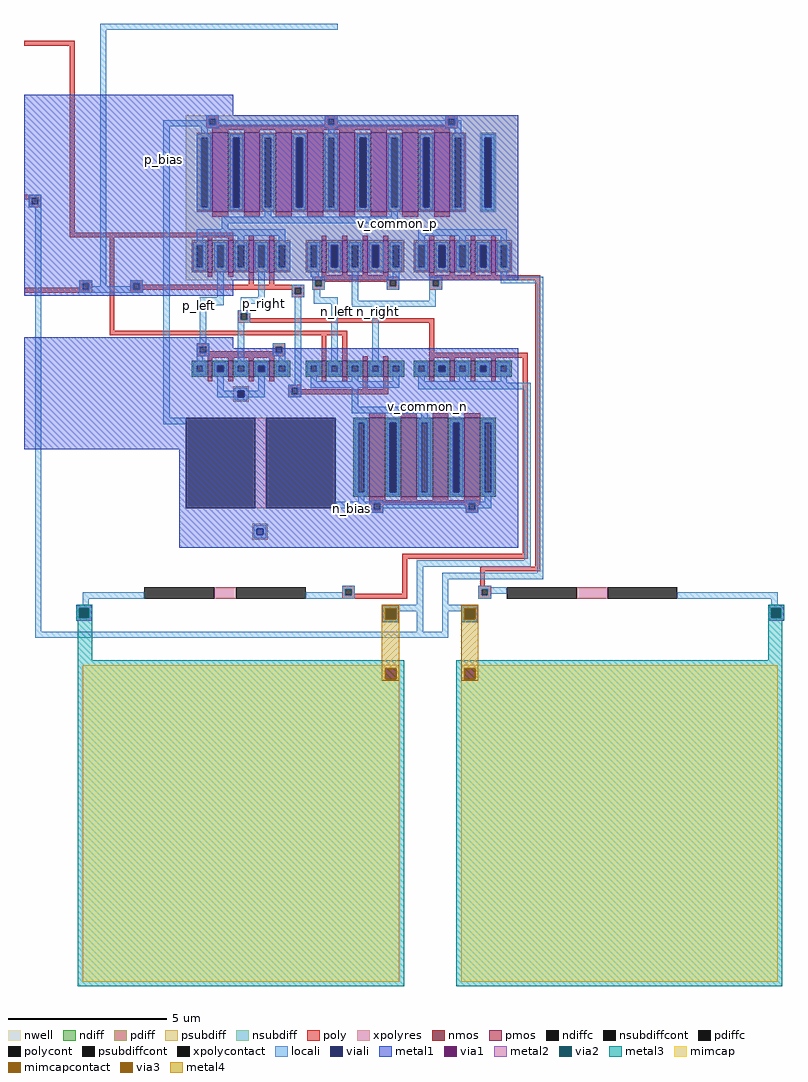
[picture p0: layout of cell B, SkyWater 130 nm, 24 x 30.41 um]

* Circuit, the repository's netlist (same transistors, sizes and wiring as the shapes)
* NGSPICE file created from B.ext - technology: sky130A

**.subckt B
X0 a_4510_n8350# p_right a_5700_n9470# a_5700_n9470# sky130_fd_pr__nfet_01v8 ad=0.25 pd=2 as=0.125 ps=1 w=0.5 l=0.15
X1 w_5530_n8860# p_bias v_common_p w_5530_n8860# sky130_fd_pr__pfet_01v8 ad=0.625 pd=3 as=0.625 ps=3 w=2.5 l=0.5
X2 p_left a_4510_n7380# v_common_p w_5530_n8860# sky130_fd_pr__pfet_01v8 ad=0.25 pd=1.5 as=0.5 ps=3 w=1 l=0.15
X3 a_4510_n8350# n_right w_5530_n8860# w_5530_n8860# sky130_fd_pr__pfet_01v8 ad=0.25 pd=1.5 as=0.25 ps=1.5 w=1 l=0.15
X4 n_right VOUT v_common_n a_5700_n9470# sky130_fd_pr__nfet_01v8 ad=0.125 pd=1 as=0.125 ps=1 w=0.5 l=0.15
X5 v_common_p p_bias w_5530_n8860# w_5530_n8860# sky130_fd_pr__pfet_01v8 ad=0.625 pd=3 as=0.625 ps=3 w=2.5 l=0.5
X6 a_5700_n9470# p_right a_4510_n8350# a_5700_n9470# sky130_fd_pr__nfet_01v8 ad=0.125 pd=1 as=0.25 ps=2 w=0.5 l=0.15
X7 p_right p_left a_5700_n9470# a_5700_n9470# sky130_fd_pr__nfet_01v8 ad=0.125 pd=1 as=0.125 ps=1 w=0.5 l=0.15
X8 p_bias n_bias a_5700_n9470# sky130_fd_pr__res_xhigh_po_2p85 l=0.51
X9 v_common_p p_bias w_5530_n8860# w_5530_n8860# sky130_fd_pr__pfet_01v8 ad=0.625 pd=3 as=0.625 ps=3 w=2.5 l=0.5
X10 w_5530_n8860# n_right a_4510_n8350# w_5530_n8860# sky130_fd_pr__pfet_01v8 ad=0.25 pd=1.5 as=0.25 ps=1.5 w=1 l=0.15
X11 v_common_n VOUT n_right a_5700_n9470# sky130_fd_pr__nfet_01v8 ad=0.25 pd=2 as=0.125 ps=1 w=0.5 l=0.15
X12 w_5530_n8860# p_bias p_bias w_5530_n8860# sky130_fd_pr__pfet_01v8 ad=0.625 pd=3 as=1.25 ps=6 w=2.5 l=0.5
X13 a_5700_n9470# p_left p_right a_5700_n9470# sky130_fd_pr__nfet_01v8 ad=0.125 pd=1 as=0.125 ps=1 w=0.5 l=0.15
X14 a_4510_n8350# a_8196_n10872# sky130_fd_pr__cap_mim_m3_1 l=10 w=10
X15 n_right n_left w_5530_n8860# w_5530_n8860# sky130_fd_pr__pfet_01v8 ad=0.25 pd=1.5 as=0.25 ps=1.5 w=1 l=0.15
X16 p_left p_left a_5700_n9470# a_5700_n9470# sky130_fd_pr__nfet_01v8 ad=0.25 pd=2 as=0.125 ps=1 w=0.5 l=0.15
X17 n_left a_4510_n7380# v_common_n a_5700_n9470# sky130_fd_pr__nfet_01v8 ad=0.125 pd=1 as=0.25 ps=2 w=0.5 l=0.15
X18 w_5530_n8860# p_bias p_bias w_5530_n8860# sky130_fd_pr__pfet_01v8 ad=0.625 pd=3 as=0.625 ps=3 w=2.5 l=0.5
X19 a_4510_n8350# n_right w_5530_n8860# w_5530_n8860# sky130_fd_pr__pfet_01v8 ad=0.5 pd=3 as=0.25 ps=1.5 w=1 l=0.15
X20 v_common_n n_bias a_5700_n9470# a_5700_n9470# sky130_fd_pr__nfet_01v8 ad=0.625 pd=3 as=0.625 ps=3 w=2.5 l=0.5
X21 w_5530_n8860# n_left n_right w_5530_n8860# sky130_fd_pr__pfet_01v8 ad=0.25 pd=1.5 as=0.25 ps=1.5 w=1 l=0.15
X22 a_5700_n9470# n_bias n_bias a_5700_n9470# sky130_fd_pr__nfet_01v8 ad=0.625 pd=3 as=1.25 ps=6 w=2.5 l=0.5
X23 v_common_p a_4510_n7380# p_left w_5530_n8860# sky130_fd_pr__pfet_01v8 ad=0.25 pd=1.5 as=0.25 ps=1.5 w=1 l=0.15
X24 w_5530_n8860# n_right a_4510_n8350# w_5530_n8860# sky130_fd_pr__pfet_01v8 ad=0.25 pd=1.5 as=0.5 ps=3 w=1 l=0.15
X25 a_5700_n9470# p_left p_left a_5700_n9470# sky130_fd_pr__nfet_01v8 ad=0.125 pd=1 as=0.25 ps=2 w=0.5 l=0.15
X26 a_4510_n8350# a_5270_n10872# sky130_fd_pr__cap_mim_m3_1 l=10 w=10
X27 p_bias p_bias w_5530_n8860# w_5530_n8860# sky130_fd_pr__pfet_01v8 ad=0.625 pd=3 as=0.625 ps=3 w=2.5 l=0.5
X28 a_4510_n8350# p_right a_5700_n9470# a_5700_n9470# sky130_fd_pr__nfet_01v8 ad=0.125 pd=1 as=0.125 ps=1 w=0.5 l=0.15
X29 n_right a_8196_n10872# a_5700_n9470# sky130_fd_pr__res_xhigh_po_0p35 l=1.14
X30 n_left n_left w_5530_n8860# w_5530_n8860# sky130_fd_pr__pfet_01v8 ad=0.5 pd=3 as=0.25 ps=1.5 w=1 l=0.15
X31 p_right VOUT v_common_p w_5530_n8860# sky130_fd_pr__pfet_01v8 ad=0.25 pd=1.5 as=0.25 ps=1.5 w=1 l=0.15
X32 p_bias p_bias w_5530_n8860# w_5530_n8860# sky130_fd_pr__pfet_01v8 ad=1.25 pd=6 as=0.625 ps=3 w=2.5 l=0.5
X33 a_5270_n10872# p_right a_5700_n9470# sky130_fd_pr__res_xhigh_po_0p35 l=0.86
X34 w_5530_n8860# p_bias v_common_p w_5530_n8860# sky130_fd_pr__pfet_01v8 ad=0.625 pd=3 as=0.625 ps=3 w=2.5 l=0.5
X35 v_common_p VOUT p_right w_5530_n8860# sky130_fd_pr__pfet_01v8 ad=0.5 pd=3 as=0.25 ps=1.5 w=1 l=0.15
X36 w_5530_n8860# n_left n_left w_5530_n8860# sky130_fd_pr__pfet_01v8 ad=0.25 pd=1.5 as=0.5 ps=3 w=1 l=0.15
X37 a_5700_n9470# p_right a_4510_n8350# a_5700_n9470# sky130_fd_pr__nfet_01v8 ad=0.125 pd=1 as=0.125 ps=1 w=0.5 l=0.15
X38 n_bias n_bias a_5700_n9470# a_5700_n9470# sky130_fd_pr__nfet_01v8 ad=1.25 pd=6 as=0.625 ps=3 w=2.5 l=0.5
X39 a_5700_n9470# n_bias v_common_n a_5700_n9470# sky130_fd_pr__nfet_01v8 ad=0.625 pd=3 as=0.625 ps=3 w=2.5 l=0.5
X40 v_common_n a_4510_n7380# n_left a_5700_n9470# sky130_fd_pr__nfet_01v8 ad=0.125 pd=1 as=0.125 ps=1 w=0.5 l=0.15
**.ends

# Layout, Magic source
magic
tech sky130A
<< nwell >>
rect 2765 -4430 3815 -3910
<< nmos >>
rect 2835 -4735 2850 -4685
rect 2900 -4735 2915 -4685
rect 2965 -4735 2980 -4685
rect 3030 -4735 3045 -4685
rect 3195 -4735 3210 -4685
rect 3260 -4735 3275 -4685
rect 3325 -4735 3340 -4685
rect 3390 -4735 3405 -4685
rect 3535 -4735 3550 -4685
rect 3600 -4735 3615 -4685
rect 3665 -4735 3680 -4685
rect 3730 -4735 3745 -4685
rect 3345 -5115 3395 -4865
rect 3445 -5115 3495 -4865
rect 3545 -5115 3595 -4865
rect 3645 -5115 3695 -4865
<< pmos >>
rect 2850 -4215 2900 -3965
rect 2950 -4215 3000 -3965
rect 3050 -4215 3100 -3965
rect 3150 -4215 3200 -3965
rect 3250 -4215 3300 -3965
rect 3350 -4215 3400 -3965
rect 3450 -4215 3500 -3965
rect 3550 -4215 3600 -3965
rect 2835 -4405 2850 -4305
rect 2900 -4405 2915 -4305
rect 2965 -4405 2980 -4305
rect 3030 -4405 3045 -4305
rect 3195 -4405 3210 -4305
rect 3260 -4405 3275 -4305
rect 3325 -4405 3340 -4305
rect 3390 -4405 3405 -4305
rect 3535 -4405 3550 -4305
rect 3600 -4405 3615 -4305
rect 3665 -4405 3680 -4305
rect 3730 -4405 3745 -4305
<< ndiff >>
rect 2785 -4700 2835 -4685
rect 2785 -4720 2800 -4700
rect 2820 -4720 2835 -4700
rect 2785 -4735 2835 -4720
rect 2850 -4700 2900 -4685
rect 2850 -4720 2865 -4700
rect 2885 -4720 2900 -4700
rect 2850 -4735 2900 -4720
rect 2915 -4700 2965 -4685
rect 2915 -4720 2930 -4700
rect 2950 -4720 2965 -4700
rect 2915 -4735 2965 -4720
rect 2980 -4700 3030 -4685
rect 2980 -4720 2995 -4700
rect 3015 -4720 3030 -4700
rect 2980 -4735 3030 -4720
rect 3045 -4700 3095 -4685
rect 3045 -4720 3060 -4700
rect 3080 -4720 3095 -4700
rect 3045 -4735 3095 -4720
rect 3145 -4700 3195 -4685
rect 3145 -4720 3160 -4700
rect 3180 -4720 3195 -4700
rect 3145 -4735 3195 -4720
rect 3210 -4700 3260 -4685
rect 3210 -4720 3225 -4700
rect 3245 -4720 3260 -4700
rect 3210 -4735 3260 -4720
rect 3275 -4700 3325 -4685
rect 3275 -4720 3290 -4700
rect 3310 -4720 3325 -4700
rect 3275 -4735 3325 -4720
rect 3340 -4700 3390 -4685
rect 3340 -4720 3355 -4700
rect 3375 -4720 3390 -4700
rect 3340 -4735 3390 -4720
rect 3405 -4700 3455 -4685
rect 3405 -4720 3420 -4700
rect 3440 -4720 3455 -4700
rect 3405 -4735 3455 -4720
rect 3485 -4700 3535 -4685
rect 3485 -4720 3500 -4700
rect 3520 -4720 3535 -4700
rect 3485 -4735 3535 -4720
rect 3550 -4700 3600 -4685
rect 3550 -4720 3565 -4700
rect 3585 -4720 3600 -4700
rect 3550 -4735 3600 -4720
rect 3615 -4700 3665 -4685
rect 3615 -4720 3630 -4700
rect 3650 -4720 3665 -4700
rect 3615 -4735 3665 -4720
rect 3680 -4700 3730 -4685
rect 3680 -4720 3695 -4700
rect 3715 -4720 3730 -4700
rect 3680 -4735 3730 -4720
rect 3745 -4700 3795 -4685
rect 3745 -4720 3760 -4700
rect 3780 -4720 3795 -4700
rect 3745 -4735 3795 -4720
rect 3295 -4880 3345 -4865
rect 3295 -5100 3310 -4880
rect 3330 -5100 3345 -4880
rect 3295 -5115 3345 -5100
rect 3395 -4880 3445 -4865
rect 3395 -5100 3410 -4880
rect 3430 -5100 3445 -4880
rect 3395 -5115 3445 -5100
rect 3495 -4880 3545 -4865
rect 3495 -5100 3510 -4880
rect 3530 -5100 3545 -4880
rect 3495 -5115 3545 -5100
rect 3595 -4880 3645 -4865
rect 3595 -5100 3610 -4880
rect 3630 -5100 3645 -4880
rect 3595 -5115 3645 -5100
rect 3695 -4880 3745 -4865
rect 3695 -5100 3710 -4880
rect 3730 -5100 3745 -4880
rect 3695 -5115 3745 -5100
<< pdiff >>
rect 2800 -3980 2850 -3965
rect 2800 -4200 2815 -3980
rect 2835 -4200 2850 -3980
rect 2800 -4215 2850 -4200
rect 2900 -3980 2950 -3965
rect 2900 -4200 2915 -3980
rect 2935 -4200 2950 -3980
rect 2900 -4215 2950 -4200
rect 3000 -3980 3050 -3965
rect 3000 -4200 3015 -3980
rect 3035 -4200 3050 -3980
rect 3000 -4215 3050 -4200
rect 3100 -3980 3150 -3965
rect 3100 -4200 3115 -3980
rect 3135 -4200 3150 -3980
rect 3100 -4215 3150 -4200
rect 3200 -3980 3250 -3965
rect 3200 -4200 3215 -3980
rect 3235 -4200 3250 -3980
rect 3200 -4215 3250 -4200
rect 3300 -3980 3350 -3965
rect 3300 -4200 3315 -3980
rect 3335 -4200 3350 -3980
rect 3300 -4215 3350 -4200
rect 3400 -3980 3450 -3965
rect 3400 -4200 3415 -3980
rect 3435 -4200 3450 -3980
rect 3400 -4215 3450 -4200
rect 3500 -3980 3550 -3965
rect 3500 -4200 3515 -3980
rect 3535 -4200 3550 -3980
rect 3500 -4215 3550 -4200
rect 3600 -3980 3650 -3965
rect 3600 -4200 3615 -3980
rect 3635 -4200 3650 -3980
rect 3600 -4215 3650 -4200
rect 2785 -4320 2835 -4305
rect 2785 -4390 2800 -4320
rect 2820 -4390 2835 -4320
rect 2785 -4405 2835 -4390
rect 2850 -4320 2900 -4305
rect 2850 -4390 2865 -4320
rect 2885 -4390 2900 -4320
rect 2850 -4405 2900 -4390
rect 2915 -4320 2965 -4305
rect 2915 -4390 2930 -4320
rect 2950 -4390 2965 -4320
rect 2915 -4405 2965 -4390
rect 2980 -4320 3030 -4305
rect 2980 -4390 2995 -4320
rect 3015 -4390 3030 -4320
rect 2980 -4405 3030 -4390
rect 3045 -4320 3095 -4305
rect 3045 -4390 3060 -4320
rect 3080 -4390 3095 -4320
rect 3045 -4405 3095 -4390
rect 3145 -4320 3195 -4305
rect 3145 -4390 3160 -4320
rect 3180 -4390 3195 -4320
rect 3145 -4405 3195 -4390
rect 3210 -4320 3260 -4305
rect 3210 -4390 3225 -4320
rect 3245 -4390 3260 -4320
rect 3210 -4405 3260 -4390
rect 3275 -4320 3325 -4305
rect 3275 -4390 3290 -4320
rect 3310 -4390 3325 -4320
rect 3275 -4405 3325 -4390
rect 3340 -4320 3390 -4305
rect 3340 -4390 3355 -4320
rect 3375 -4390 3390 -4320
rect 3340 -4405 3390 -4390
rect 3405 -4320 3455 -4305
rect 3405 -4390 3420 -4320
rect 3440 -4390 3455 -4320
rect 3405 -4405 3455 -4390
rect 3485 -4320 3535 -4305
rect 3485 -4390 3500 -4320
rect 3520 -4390 3535 -4320
rect 3485 -4405 3535 -4390
rect 3550 -4320 3600 -4305
rect 3550 -4390 3565 -4320
rect 3585 -4390 3600 -4320
rect 3550 -4405 3600 -4390
rect 3615 -4320 3665 -4305
rect 3615 -4390 3630 -4320
rect 3650 -4390 3665 -4320
rect 3615 -4405 3665 -4390
rect 3680 -4320 3730 -4305
rect 3680 -4390 3695 -4320
rect 3715 -4390 3730 -4320
rect 3680 -4405 3730 -4390
rect 3745 -4320 3795 -4305
rect 3745 -4390 3760 -4320
rect 3780 -4390 3795 -4320
rect 3745 -4405 3795 -4390
<< ndiffc >>
rect 2800 -4720 2820 -4700
rect 2865 -4720 2885 -4700
rect 2930 -4720 2950 -4700
rect 2995 -4720 3015 -4700
rect 3060 -4720 3080 -4700
rect 3160 -4720 3180 -4700
rect 3225 -4720 3245 -4700
rect 3290 -4720 3310 -4700
rect 3355 -4720 3375 -4700
rect 3420 -4720 3440 -4700
rect 3500 -4720 3520 -4700
rect 3565 -4720 3585 -4700
rect 3630 -4720 3650 -4700
rect 3695 -4720 3715 -4700
rect 3760 -4720 3780 -4700
rect 3310 -5100 3330 -4880
rect 3410 -5100 3430 -4880
rect 3510 -5100 3530 -4880
rect 3610 -5100 3630 -4880
rect 3710 -5100 3730 -4880
<< pdiffc >>
rect 2815 -4200 2835 -3980
rect 2915 -4200 2935 -3980
rect 3015 -4200 3035 -3980
rect 3115 -4200 3135 -3980
rect 3215 -4200 3235 -3980
rect 3315 -4200 3335 -3980
rect 3415 -4200 3435 -3980
rect 3515 -4200 3535 -3980
rect 3615 -4200 3635 -3980
rect 2800 -4390 2820 -4320
rect 2865 -4390 2885 -4320
rect 2930 -4390 2950 -4320
rect 2995 -4390 3015 -4320
rect 3060 -4390 3080 -4320
rect 3160 -4390 3180 -4320
rect 3225 -4390 3245 -4320
rect 3290 -4390 3310 -4320
rect 3355 -4390 3375 -4320
rect 3420 -4390 3440 -4320
rect 3500 -4390 3520 -4320
rect 3565 -4390 3585 -4320
rect 3630 -4390 3650 -4320
rect 3695 -4390 3715 -4320
rect 3760 -4390 3780 -4320
<< psubdiff >>
rect 2915 -4780 2965 -4765
rect 2915 -4800 2930 -4780
rect 2950 -4800 2965 -4780
rect 2915 -4815 2965 -4800
rect 2975 -5250 3025 -5200
<< nsubdiff >>
rect 3695 -3980 3745 -3965
rect 3695 -4200 3710 -3980
rect 3730 -4200 3745 -3980
rect 3695 -4215 3745 -4200
<< psubdiffcont >>
rect 2930 -4800 2950 -4780
<< nsubdiffcont >>
rect 3710 -4200 3730 -3980
<< poly >>
rect 2255 -3690 2415 -3675
rect 2255 -4170 2310 -4160
rect 2255 -4175 2280 -4170
rect 2270 -4190 2280 -4175
rect 2300 -4190 2310 -4170
rect 2270 -4200 2310 -4190
rect 2400 -4280 2415 -3690
rect 2830 -3920 2870 -3910
rect 2830 -3940 2840 -3920
rect 2860 -3940 2870 -3920
rect 3205 -3920 3245 -3910
rect 3205 -3940 3215 -3920
rect 3235 -3940 3245 -3920
rect 3585 -3920 3625 -3910
rect 3585 -3940 3595 -3920
rect 3615 -3940 3625 -3920
rect 2830 -3950 3625 -3940
rect 2850 -3955 3600 -3950
rect 2850 -3965 2900 -3955
rect 2950 -3965 3000 -3955
rect 3050 -3965 3100 -3955
rect 3150 -3965 3200 -3955
rect 3250 -3965 3300 -3955
rect 3350 -3965 3400 -3955
rect 3450 -3965 3500 -3955
rect 3550 -3965 3600 -3955
rect 2850 -4230 2900 -4215
rect 2950 -4230 3000 -4215
rect 3050 -4230 3100 -4215
rect 3150 -4230 3200 -4215
rect 3250 -4230 3300 -4215
rect 3350 -4230 3400 -4215
rect 3450 -4230 3500 -4215
rect 3550 -4230 3600 -4215
rect 2400 -4295 2915 -4280
rect 2430 -4440 2470 -4430
rect 2430 -4455 2440 -4440
rect 2255 -4460 2440 -4455
rect 2460 -4460 2470 -4440
rect 2255 -4470 2470 -4460
rect 2525 -4590 2540 -4295
rect 2835 -4305 2850 -4295
rect 2900 -4305 2915 -4295
rect 2965 -4305 2980 -4290
rect 3030 -4305 3045 -4290
rect 3195 -4305 3210 -4290
rect 3260 -4305 3275 -4290
rect 3325 -4305 3340 -4290
rect 3390 -4305 3405 -4290
rect 3535 -4305 3550 -4290
rect 3600 -4305 3615 -4290
rect 3665 -4305 3680 -4290
rect 3730 -4305 3745 -4290
rect 2835 -4420 2850 -4405
rect 2900 -4420 2915 -4405
rect 2590 -4440 2630 -4430
rect 2590 -4460 2600 -4440
rect 2620 -4445 2630 -4440
rect 2965 -4445 2980 -4405
rect 3030 -4445 3045 -4405
rect 3195 -4415 3210 -4405
rect 3260 -4415 3275 -4405
rect 3325 -4415 3340 -4405
rect 3390 -4415 3405 -4405
rect 3195 -4420 3405 -4415
rect 3535 -4415 3550 -4405
rect 3600 -4415 3615 -4405
rect 3665 -4415 3680 -4405
rect 3730 -4415 3745 -4405
rect 3165 -4430 3440 -4420
rect 2620 -4455 3140 -4445
rect 2620 -4460 3110 -4455
rect 2590 -4470 2630 -4460
rect 3100 -4475 3110 -4460
rect 3130 -4475 3140 -4455
rect 3165 -4450 3175 -4430
rect 3195 -4435 3410 -4430
rect 3195 -4450 3205 -4435
rect 3165 -4460 3205 -4450
rect 3400 -4450 3410 -4435
rect 3430 -4450 3440 -4430
rect 3400 -4460 3440 -4450
rect 3535 -4430 3885 -4415
rect 3535 -4450 3545 -4430
rect 3565 -4450 3575 -4430
rect 3535 -4460 3575 -4450
rect 3100 -4485 3140 -4475
rect 2930 -4535 2970 -4525
rect 2930 -4555 2940 -4535
rect 2960 -4550 2970 -4535
rect 2960 -4555 3550 -4550
rect 2930 -4565 3550 -4555
rect 2525 -4605 3275 -4590
rect 2800 -4640 2840 -4630
rect 2800 -4660 2810 -4640
rect 2830 -4655 2840 -4640
rect 3040 -4640 3080 -4630
rect 3040 -4655 3050 -4640
rect 2830 -4660 3050 -4655
rect 3070 -4660 3080 -4640
rect 2800 -4670 3080 -4660
rect 2835 -4675 3045 -4670
rect 2835 -4685 2850 -4675
rect 2900 -4685 2915 -4675
rect 2965 -4685 2980 -4675
rect 3030 -4685 3045 -4675
rect 3195 -4685 3210 -4605
rect 3260 -4685 3275 -4605
rect 3535 -4660 3550 -4565
rect 3325 -4685 3340 -4670
rect 3390 -4685 3405 -4670
rect 3535 -4675 3845 -4660
rect 3535 -4685 3550 -4675
rect 3600 -4685 3615 -4675
rect 3665 -4685 3680 -4675
rect 3730 -4685 3745 -4675
rect 2835 -4750 2850 -4735
rect 2900 -4750 2915 -4735
rect 2965 -4750 2980 -4735
rect 3030 -4750 3045 -4735
rect 3195 -4750 3210 -4735
rect 3260 -4750 3275 -4735
rect 3090 -4770 3130 -4760
rect 3090 -4790 3100 -4770
rect 3120 -4775 3130 -4770
rect 3325 -4775 3340 -4735
rect 3390 -4775 3405 -4735
rect 3535 -4750 3550 -4735
rect 3600 -4750 3615 -4735
rect 3665 -4750 3680 -4735
rect 3730 -4750 3745 -4735
rect 3120 -4790 3405 -4775
rect 3090 -4800 3130 -4790
rect 3345 -4865 3395 -4850
rect 3445 -4865 3495 -4850
rect 3545 -4865 3595 -4850
rect 3645 -4865 3695 -4850
rect 3345 -5125 3395 -5115
rect 3445 -5125 3495 -5115
rect 3545 -5125 3595 -5115
rect 3645 -5125 3695 -5115
rect 3345 -5135 3695 -5125
rect 3345 -5140 3360 -5135
rect 3350 -5155 3360 -5140
rect 3380 -5140 3660 -5135
rect 3380 -5155 3390 -5140
rect 3350 -5165 3390 -5155
rect 3650 -5155 3660 -5140
rect 3680 -5140 3695 -5135
rect 3680 -5155 3690 -5140
rect 3650 -5165 3690 -5155
rect 3830 -5295 3845 -4675
rect 3450 -5310 3845 -5295
rect 3260 -5406 3300 -5396
rect 3260 -5426 3270 -5406
rect 3290 -5421 3300 -5406
rect 3450 -5421 3465 -5310
rect 3870 -5335 3885 -4430
rect 3695 -5350 3885 -5335
rect 3695 -5396 3710 -5350
rect 3290 -5426 3465 -5421
rect 3260 -5436 3465 -5426
rect 3690 -5406 3730 -5396
rect 3690 -5426 3700 -5406
rect 3720 -5426 3730 -5406
rect 3690 -5436 3730 -5426
<< polycont >>
rect 2280 -4190 2300 -4170
rect 2840 -3940 2860 -3920
rect 3215 -3940 3235 -3920
rect 3595 -3940 3615 -3920
rect 2440 -4460 2460 -4440
rect 2600 -4460 2620 -4440
rect 3110 -4475 3130 -4455
rect 3175 -4450 3195 -4430
rect 3410 -4450 3430 -4430
rect 3545 -4450 3565 -4430
rect 2940 -4555 2960 -4535
rect 2810 -4660 2830 -4640
rect 3050 -4660 3070 -4640
rect 3100 -4790 3120 -4770
rect 3360 -5155 3380 -5135
rect 3660 -5155 3680 -5135
rect 3270 -5426 3290 -5406
rect 3700 -5426 3720 -5406
<< xpolycontact >>
rect 2765 -5150 2985 -4865
rect 3020 -5150 3240 -4865
rect 2635 -5436 2855 -5401
rect 2925 -5436 3145 -5401
rect 3780 -5436 4000 -5401
rect 4098 -5436 4318 -5401
<< xpolyres >>
rect 2985 -5150 3020 -4865
rect 2855 -5436 2925 -5401
rect 4000 -5436 4098 -5401
<< locali >>
rect 2495 -3640 3245 -3620
rect 2270 -4170 2310 -4160
rect 2270 -4190 2280 -4170
rect 2300 -4190 2310 -4170
rect 2270 -4200 2310 -4190
rect 2290 -5540 2310 -4200
rect 2430 -4440 2470 -4430
rect 2430 -4460 2440 -4440
rect 2460 -4450 2470 -4440
rect 2495 -4450 2515 -3640
rect 2830 -3920 2870 -3910
rect 2830 -3925 2840 -3920
rect 2695 -3940 2840 -3925
rect 2860 -3925 2870 -3920
rect 3205 -3920 3245 -3910
rect 3205 -3925 3215 -3920
rect 2860 -3940 3215 -3925
rect 3235 -3925 3245 -3920
rect 3585 -3920 3625 -3910
rect 3585 -3925 3595 -3920
rect 3235 -3940 3595 -3925
rect 3615 -3925 3625 -3920
rect 3615 -3940 3635 -3925
rect 2695 -3945 3635 -3940
rect 2590 -4440 2630 -4430
rect 2590 -4450 2600 -4440
rect 2460 -4460 2600 -4450
rect 2620 -4460 2630 -4440
rect 2430 -4470 2630 -4460
rect 2695 -4865 2715 -3945
rect 2815 -3950 2870 -3945
rect 3205 -3950 3245 -3945
rect 3585 -3950 3635 -3945
rect 2815 -3970 2835 -3950
rect 3215 -3970 3235 -3950
rect 3615 -3970 3635 -3950
rect 2800 -3980 2845 -3970
rect 2800 -4200 2815 -3980
rect 2835 -4200 2845 -3980
rect 2800 -4210 2845 -4200
rect 2905 -3980 2945 -3970
rect 2905 -4200 2915 -3980
rect 2935 -4200 2945 -3980
rect 2905 -4210 2945 -4200
rect 3005 -3980 3045 -3970
rect 3005 -4200 3015 -3980
rect 3035 -4200 3045 -3980
rect 3005 -4210 3045 -4200
rect 3105 -3980 3145 -3970
rect 3105 -4200 3115 -3980
rect 3135 -4200 3145 -3980
rect 3105 -4210 3145 -4200
rect 3205 -3980 3245 -3970
rect 3205 -4200 3215 -3980
rect 3235 -4200 3245 -3980
rect 3205 -4210 3245 -4200
rect 3305 -3980 3345 -3970
rect 3305 -4200 3315 -3980
rect 3335 -4200 3345 -3980
rect 3305 -4210 3345 -4200
rect 3405 -3980 3445 -3970
rect 3405 -4200 3415 -3980
rect 3435 -4200 3445 -3980
rect 3405 -4210 3445 -4200
rect 3505 -3980 3545 -3970
rect 3505 -4200 3515 -3980
rect 3535 -4200 3545 -3980
rect 3505 -4210 3545 -4200
rect 3605 -3980 3645 -3970
rect 3605 -4200 3615 -3980
rect 3635 -4200 3645 -3980
rect 3605 -4210 3645 -4200
rect 3700 -3980 3740 -3970
rect 3700 -4200 3710 -3980
rect 3730 -4200 3740 -3980
rect 3700 -4210 3740 -4200
rect 3015 -4230 3035 -4210
rect 3415 -4230 3435 -4210
rect 2880 -4250 3435 -4230
rect 2880 -4270 2900 -4250
rect 2800 -4290 3080 -4270
rect 2800 -4310 2820 -4290
rect 2930 -4310 2950 -4290
rect 3060 -4310 3080 -4290
rect 3500 -4290 3780 -4270
rect 3500 -4310 3520 -4290
rect 3630 -4310 3650 -4290
rect 3760 -4310 3780 -4290
rect 2790 -4320 2830 -4310
rect 2790 -4390 2800 -4320
rect 2820 -4390 2830 -4320
rect 2790 -4400 2830 -4390
rect 2855 -4320 2895 -4310
rect 2855 -4390 2865 -4320
rect 2885 -4390 2895 -4320
rect 2855 -4400 2895 -4390
rect 2920 -4320 2960 -4310
rect 2920 -4390 2930 -4320
rect 2950 -4390 2960 -4320
rect 2920 -4400 2960 -4390
rect 2985 -4320 3025 -4310
rect 2985 -4390 2995 -4320
rect 3015 -4390 3025 -4320
rect 2985 -4400 3025 -4390
rect 3050 -4320 3095 -4310
rect 3050 -4390 3060 -4320
rect 3080 -4390 3095 -4320
rect 3050 -4400 3095 -4390
rect 3150 -4320 3190 -4310
rect 3150 -4390 3160 -4320
rect 3180 -4390 3190 -4320
rect 3150 -4400 3190 -4390
rect 3215 -4320 3255 -4310
rect 3215 -4390 3225 -4320
rect 3245 -4390 3255 -4320
rect 3215 -4400 3255 -4390
rect 3280 -4320 3320 -4310
rect 3280 -4390 3290 -4320
rect 3310 -4390 3320 -4320
rect 3280 -4400 3320 -4390
rect 3345 -4320 3390 -4310
rect 3345 -4390 3355 -4320
rect 3375 -4390 3390 -4320
rect 3345 -4400 3390 -4390
rect 3410 -4320 3450 -4310
rect 3410 -4390 3420 -4320
rect 3440 -4390 3450 -4320
rect 3410 -4400 3450 -4390
rect 3490 -4320 3530 -4310
rect 3490 -4390 3500 -4320
rect 3520 -4390 3530 -4320
rect 3490 -4400 3530 -4390
rect 3555 -4320 3595 -4310
rect 3555 -4390 3565 -4320
rect 3585 -4390 3595 -4320
rect 3555 -4400 3595 -4390
rect 3620 -4320 3660 -4310
rect 3620 -4390 3630 -4320
rect 3650 -4390 3660 -4320
rect 3620 -4400 3660 -4390
rect 3685 -4320 3725 -4310
rect 3685 -4390 3695 -4320
rect 3715 -4390 3725 -4320
rect 3685 -4400 3725 -4390
rect 3750 -4320 3790 -4310
rect 3750 -4390 3760 -4320
rect 3780 -4390 3790 -4320
rect 3750 -4400 3790 -4390
rect 2865 -4485 2885 -4400
rect 2995 -4485 3015 -4400
rect 3160 -4420 3185 -4400
rect 3165 -4430 3205 -4420
rect 3100 -4455 3140 -4445
rect 3100 -4475 3110 -4455
rect 3130 -4475 3140 -4455
rect 3165 -4450 3175 -4430
rect 3195 -4450 3205 -4430
rect 3165 -4460 3205 -4450
rect 3100 -4485 3140 -4475
rect 3170 -4485 3190 -4460
rect 2810 -4510 2885 -4485
rect 2940 -4505 3015 -4485
rect 2810 -4630 2830 -4510
rect 2940 -4525 2960 -4505
rect 2930 -4535 2970 -4525
rect 2930 -4555 2940 -4535
rect 2960 -4555 2970 -4535
rect 2930 -4565 2970 -4555
rect 2800 -4640 2840 -4630
rect 2800 -4660 2810 -4640
rect 2830 -4660 2840 -4640
rect 2800 -4670 2840 -4660
rect 2800 -4690 2820 -4670
rect 2930 -4690 2950 -4565
rect 3040 -4640 3080 -4630
rect 3040 -4660 3050 -4640
rect 3070 -4660 3080 -4640
rect 3040 -4670 3080 -4660
rect 3060 -4690 3080 -4670
rect 2790 -4700 2830 -4690
rect 2790 -4720 2800 -4700
rect 2820 -4720 2830 -4700
rect 2790 -4730 2830 -4720
rect 2855 -4700 2895 -4690
rect 2855 -4720 2865 -4700
rect 2885 -4720 2895 -4700
rect 2855 -4730 2895 -4720
rect 2920 -4700 2960 -4690
rect 2920 -4720 2930 -4700
rect 2950 -4720 2960 -4700
rect 2920 -4730 2960 -4720
rect 2985 -4700 3025 -4690
rect 2985 -4720 2995 -4700
rect 3015 -4720 3025 -4700
rect 2985 -4730 3025 -4720
rect 3050 -4700 3090 -4690
rect 3050 -4720 3060 -4700
rect 3080 -4720 3090 -4700
rect 3050 -4730 3090 -4720
rect 2865 -4780 2885 -4730
rect 2920 -4780 2960 -4770
rect 2995 -4780 3015 -4730
rect 3110 -4760 3130 -4485
rect 3170 -4505 3245 -4485
rect 3225 -4690 3245 -4505
rect 3290 -4495 3310 -4400
rect 3420 -4420 3440 -4400
rect 3760 -4420 3780 -4400
rect 3400 -4430 3440 -4420
rect 3400 -4450 3410 -4430
rect 3430 -4450 3440 -4430
rect 3400 -4460 3440 -4450
rect 3535 -4430 3575 -4420
rect 3535 -4450 3545 -4430
rect 3565 -4450 3575 -4430
rect 3760 -4440 3895 -4420
rect 3535 -4460 3575 -4450
rect 3535 -4495 3555 -4460
rect 3290 -4515 3555 -4495
rect 3355 -4690 3375 -4515
rect 3150 -4700 3190 -4690
rect 3150 -4720 3160 -4700
rect 3180 -4720 3190 -4700
rect 3150 -4730 3190 -4720
rect 3215 -4700 3255 -4690
rect 3215 -4720 3225 -4700
rect 3245 -4720 3255 -4700
rect 3215 -4730 3255 -4720
rect 3280 -4700 3320 -4690
rect 3280 -4720 3290 -4700
rect 3310 -4720 3320 -4700
rect 3280 -4730 3320 -4720
rect 3345 -4700 3385 -4690
rect 3345 -4720 3355 -4700
rect 3375 -4720 3385 -4700
rect 3345 -4730 3385 -4720
rect 3410 -4700 3450 -4690
rect 3410 -4720 3420 -4700
rect 3440 -4720 3450 -4700
rect 3410 -4730 3450 -4720
rect 3490 -4700 3530 -4690
rect 3490 -4720 3500 -4700
rect 3520 -4720 3530 -4700
rect 3490 -4730 3530 -4720
rect 3555 -4700 3595 -4690
rect 3555 -4720 3565 -4700
rect 3585 -4720 3595 -4700
rect 3555 -4730 3595 -4720
rect 3620 -4700 3660 -4690
rect 3620 -4720 3630 -4700
rect 3650 -4720 3660 -4700
rect 3620 -4730 3660 -4720
rect 3685 -4700 3725 -4690
rect 3685 -4720 3695 -4700
rect 3715 -4720 3725 -4700
rect 3685 -4730 3725 -4720
rect 3750 -4700 3790 -4690
rect 3750 -4720 3760 -4700
rect 3780 -4720 3790 -4700
rect 3750 -4730 3790 -4720
rect 2865 -4800 2930 -4780
rect 2950 -4800 3015 -4780
rect 3090 -4770 3130 -4760
rect 3160 -4750 3180 -4730
rect 3290 -4750 3310 -4730
rect 3420 -4750 3440 -4730
rect 3160 -4770 3440 -4750
rect 3500 -4750 3520 -4730
rect 3630 -4750 3650 -4730
rect 3760 -4750 3780 -4730
rect 3500 -4755 3780 -4750
rect 3090 -4790 3100 -4770
rect 3120 -4790 3130 -4770
rect 3090 -4800 3130 -4790
rect 2920 -4810 2960 -4800
rect 3290 -4830 3310 -4770
rect 3500 -4775 3855 -4755
rect 3290 -4850 3530 -4830
rect 2695 -4885 2765 -4865
rect 3510 -4870 3530 -4850
rect 3300 -4880 3340 -4870
rect 3300 -5100 3310 -4880
rect 3330 -5100 3340 -4880
rect 3300 -5110 3340 -5100
rect 3400 -4880 3440 -4870
rect 3400 -5100 3410 -4880
rect 3430 -5100 3440 -4880
rect 3400 -5110 3440 -5100
rect 3500 -4880 3540 -4870
rect 3500 -5100 3510 -4880
rect 3530 -5100 3540 -4880
rect 3500 -5110 3540 -5100
rect 3600 -4880 3640 -4870
rect 3600 -5100 3610 -4880
rect 3630 -5100 3640 -4880
rect 3600 -5110 3640 -5100
rect 3700 -4880 3740 -4870
rect 3700 -5100 3710 -4880
rect 3730 -5100 3740 -4880
rect 3700 -5110 3740 -5100
rect 3310 -5130 3330 -5110
rect 3350 -5130 3390 -5125
rect 3650 -5130 3690 -5125
rect 3710 -5130 3730 -5110
rect 3240 -5135 3730 -5130
rect 3240 -5150 3360 -5135
rect 3350 -5155 3360 -5150
rect 3380 -5150 3660 -5135
rect 3380 -5155 3390 -5150
rect 3350 -5165 3390 -5155
rect 3650 -5155 3660 -5150
rect 3680 -5150 3730 -5135
rect 3680 -5155 3690 -5150
rect 3650 -5165 3690 -5155
rect 2980 -5215 3020 -5205
rect 2980 -5235 2990 -5215
rect 3010 -5235 3020 -5215
rect 2980 -5245 3020 -5235
rect 3835 -5315 3855 -4775
rect 3495 -5335 3855 -5315
rect 2440 -5436 2635 -5416
rect 3260 -5406 3300 -5396
rect 3260 -5416 3270 -5406
rect 3145 -5426 3270 -5416
rect 3290 -5426 3300 -5406
rect 3145 -5436 3300 -5426
rect 2440 -5456 2460 -5436
rect 3495 -5456 3515 -5335
rect 3875 -5355 3895 -4440
rect 2420 -5466 2470 -5456
rect 2420 -5496 2430 -5466
rect 2460 -5496 2470 -5466
rect 2420 -5506 2470 -5496
rect 3385 -5466 3515 -5456
rect 3385 -5501 3395 -5466
rect 3430 -5476 3515 -5466
rect 3430 -5501 3440 -5476
rect 3385 -5511 3440 -5501
rect 3495 -5540 3515 -5476
rect 3575 -5375 3895 -5355
rect 3575 -5456 3595 -5375
rect 3690 -5401 3730 -5396
rect 3690 -5406 3780 -5401
rect 3690 -5426 3700 -5406
rect 3720 -5421 3780 -5406
rect 3720 -5426 3730 -5421
rect 3690 -5436 3730 -5426
rect 4318 -5436 4635 -5416
rect 4615 -5456 4635 -5436
rect 3575 -5466 3690 -5456
rect 3575 -5476 3645 -5466
rect 3575 -5540 3595 -5476
rect 3635 -5501 3645 -5476
rect 3680 -5501 3690 -5466
rect 3635 -5511 3690 -5501
rect 4605 -5466 4655 -5456
rect 4605 -5496 4615 -5466
rect 4645 -5496 4655 -5466
rect 4605 -5506 4655 -5496
rect 2290 -5560 3595 -5540
<< viali >>
rect 2915 -4200 2935 -3980
rect 3115 -4200 3135 -3980
rect 3315 -4200 3335 -3980
rect 3515 -4200 3535 -3980
rect 3710 -4200 3730 -3980
rect 3225 -4390 3245 -4320
rect 3355 -4390 3375 -4320
rect 3565 -4390 3585 -4320
rect 3695 -4390 3715 -4320
rect 2865 -4720 2885 -4700
rect 2995 -4720 3015 -4700
rect 3565 -4720 3585 -4700
rect 3695 -4720 3715 -4700
rect 2930 -4800 2950 -4780
rect 3410 -5100 3430 -4880
rect 3610 -5100 3630 -4880
rect 2990 -5235 3010 -5215
rect 2430 -5496 2460 -5466
rect 3395 -5501 3430 -5466
rect 3645 -5501 3680 -5466
rect 4615 -5496 4645 -5466
<< metal1 >>
rect 2255 -3910 2915 -3845
rect 2255 -3980 3815 -3910
rect 2255 -4200 2915 -3980
rect 2935 -4200 3115 -3980
rect 3135 -4200 3315 -3980
rect 3335 -4200 3515 -3980
rect 3535 -4200 3710 -3980
rect 3730 -4200 3815 -3980
rect 2255 -4320 3815 -4200
rect 2255 -4390 3225 -4320
rect 3245 -4390 3355 -4320
rect 3375 -4390 3565 -4320
rect 3585 -4390 3695 -4320
rect 3715 -4390 3815 -4320
rect 2255 -4430 3815 -4390
rect 2255 -4480 2915 -4430
rect 2255 -4645 2915 -4610
rect 2255 -4700 3815 -4645
rect 2255 -4720 2865 -4700
rect 2885 -4720 2995 -4700
rect 3015 -4720 3565 -4700
rect 3585 -4720 3695 -4700
rect 3715 -4720 3815 -4700
rect 2255 -4780 3815 -4720
rect 2255 -4800 2930 -4780
rect 2950 -4800 3815 -4780
rect 2255 -4880 3815 -4800
rect 2255 -4965 3410 -4880
rect 2745 -5100 3410 -4965
rect 3430 -5100 3610 -4880
rect 3630 -5100 3815 -4880
rect 2745 -5215 3815 -5100
rect 2745 -5235 2990 -5215
rect 3010 -5235 3815 -5215
rect 2745 -5275 3815 -5235
rect 2420 -5466 2470 -5456
rect 2420 -5496 2430 -5466
rect 2460 -5496 2470 -5466
rect 2420 -5506 2470 -5496
rect 3385 -5466 3440 -5456
rect 3385 -5501 3395 -5466
rect 3430 -5501 3440 -5466
rect 3385 -5511 3440 -5501
rect 3635 -5466 3690 -5456
rect 3635 -5501 3645 -5466
rect 3680 -5501 3690 -5466
rect 3635 -5511 3690 -5501
rect 4605 -5466 4655 -5456
rect 4605 -5496 4615 -5466
rect 4645 -5496 4655 -5466
rect 4605 -5506 4655 -5496
<< via1 >>
rect 2430 -5496 2460 -5466
rect 3395 -5501 3430 -5466
rect 3645 -5501 3680 -5466
rect 4615 -5496 4645 -5466
<< metal2 >>
rect 2420 -5466 2470 -5456
rect 2420 -5496 2430 -5466
rect 2460 -5496 2470 -5466
rect 2420 -5506 2470 -5496
rect 3385 -5466 3440 -5456
rect 3385 -5501 3395 -5466
rect 3430 -5501 3440 -5466
rect 3385 -5511 3440 -5501
rect 3635 -5466 3690 -5456
rect 3635 -5501 3645 -5466
rect 3680 -5501 3690 -5466
rect 3635 -5511 3690 -5501
rect 4605 -5466 4655 -5456
rect 4605 -5496 4615 -5466
rect 4645 -5496 4655 -5466
rect 4605 -5506 4655 -5496
<< via2 >>
rect 2430 -5496 2460 -5466
rect 3395 -5501 3430 -5466
rect 3645 -5501 3680 -5466
rect 4615 -5496 4645 -5466
<< metal3 >>
rect 2420 -5466 2470 -5456
rect 2420 -5496 2430 -5466
rect 2460 -5496 2470 -5466
rect 2420 -5506 2470 -5496
rect 2425 -5631 2470 -5506
rect 3385 -5466 3440 -5456
rect 3385 -5501 3395 -5466
rect 3430 -5501 3440 -5466
rect 3385 -5511 3440 -5501
rect 3635 -5466 3690 -5456
rect 3635 -5501 3645 -5466
rect 3680 -5501 3690 -5466
rect 3635 -5511 3690 -5501
rect 4605 -5466 4655 -5456
rect 4605 -5496 4615 -5466
rect 4645 -5496 4655 -5466
rect 4605 -5506 4655 -5496
rect 4605 -5631 4650 -5506
rect 2425 -6661 3455 -5631
rect 3620 -6661 4650 -5631
<< via3 >>
rect 3395 -5501 3430 -5466
rect 3645 -5501 3680 -5466
<< mimcap >>
rect 2440 -5656 3440 -5646
rect 2440 -5691 3395 -5656
rect 3430 -5691 3440 -5656
rect 2440 -6646 3440 -5691
rect 3635 -5656 4635 -5646
rect 3635 -5691 3645 -5656
rect 3680 -5691 4635 -5656
rect 3635 -6646 4635 -5691
<< mimcapcontact >>
rect 3395 -5691 3430 -5656
rect 3645 -5691 3680 -5656
<< metal4 >>
rect 3385 -5466 3440 -5456
rect 3385 -5501 3395 -5466
rect 3430 -5501 3440 -5466
rect 3385 -5656 3440 -5501
rect 3385 -5691 3395 -5656
rect 3430 -5691 3440 -5656
rect 3385 -5696 3440 -5691
rect 3635 -5466 3690 -5456
rect 3635 -5501 3645 -5466
rect 3680 -5501 3690 -5466
rect 3635 -5656 3690 -5501
rect 3635 -5691 3645 -5656
rect 3680 -5691 3690 -5656
rect 3635 -5696 3690 -5691
<< labels >>
flabel locali 3530 -4830 3530 -4830 2 FreeSans 400 0 0 0 v_common_n
flabel locali 3435 -4250 3435 -4250 4 FreeSans 400 0 0 0 v_common_p
flabel locali 3245 -4530 3245 -4530 3 FreeSans 160 0 80 0 n_left
flabel locali 3375 -4530 3375 -4530 3 FreeSans 160 0 80 0 n_right
flabel locali 3015 -4505 3015 -4505 3 FreeSans 160 0 80 0 p_right
flabel locali 2810 -4510 2810 -4510 7 FreeSans 160 0 -80 0 p_left
flabel locali 3290 -5150 3290 -5150 5 FreeSans 160 0 0 -80 n_bias
flabel locali 2695 -4050 2695 -4050 7 FreeSans 160 0 -80 0 p_bias
<< end >>
